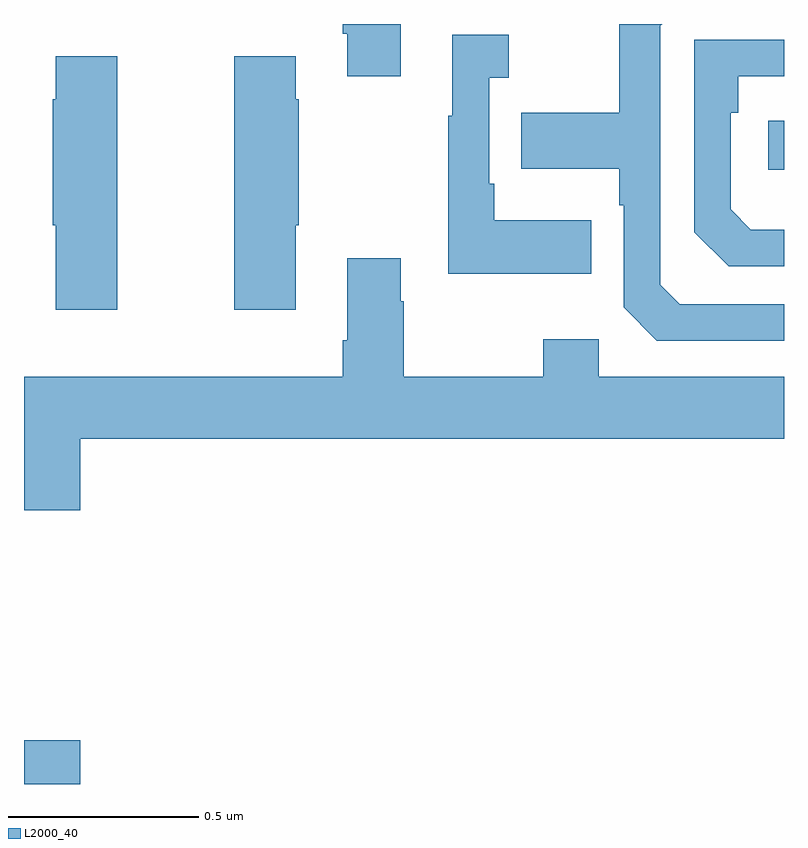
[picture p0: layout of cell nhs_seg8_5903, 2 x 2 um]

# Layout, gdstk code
import gdstk
lib = gdstk.Library(unit=1e-6, precision=1e-09)
def R(c, l, rs):  # rectangles x0, y0, x1, y1
    for r in rs: c.add(gdstk.rectangle(r[:2], r[2:], *l))
def P(c, l, *ps):  # polygons
    for p in ps: c.add(gdstk.Polygon(p, *l))
L2000_40 = (2000, 40)

nhs_seg8_5903 = lib.new_cell('nhs_seg8_5903')
R(nhs_seg8_5903, L2000_40, [(189,1140.9,189.148,1141.015), (190.959,1142.516,191,1142.646)])
P(nhs_seg8_5903, L2000_40, [(189.991,1142.9),(189.839,1142.9),(189.839,1142.875),(189.851,1142.875),(189.851,1142.763),(189.991,1142.763)],
  [(191,1142.163),(190.725,1142.163),(190.674,1142.214),(190.674,1142.895),(190.679,1142.9),(190.566,1142.9),(190.566,1142.667),(190.309,1142.667),(190.309,1142.519),(190.566,1142.519),(190.566,1142.423),(190.578,1142.423),(190.578,1142.154),(190.665,1142.067),(191,1142.067)],
  [(190.493,1142.383),(190.237,1142.383),(190.237,1142.479),(190.224,1142.479),(190.224,1142.759),(190.276,1142.759),(190.276,1142.872),(190.127,1142.872),(190.127,1142.659),(190.116,1142.659),(190.116,1142.243),(190.493,1142.243)],
  [(191,1142.359),(190.913,1142.359),(190.86,1142.412),(190.86,1142.666),(190.88,1142.666),(190.88,1142.763),(191,1142.763),(191,1142.859),(190.764,1142.859),(190.764,1142.352),(190.854,1142.262),(191,1142.262)],
  [(189.715,1142.371),(189.723,1142.371),(189.723,1142.702),(189.715,1142.702),(189.715,1142.815),(189.553,1142.815),(189.553,1142.148),(189.715,1142.148)],
  [(189.246,1142.815),(189.083,1142.815),(189.083,1142.702),(189.076,1142.702),(189.076,1142.371),(189.083,1142.371),(189.083,1142.148),(189.246,1142.148)],
  [(189.148,1141.808),(191,1141.808),(191,1141.972),(190.512,1141.972),(190.512,1142.071),(190.366,1142.071),(190.366,1141.972),(189.999,1141.972),(189.999,1142.171),(189.991,1142.171),(189.991,1142.284),(189.851,1142.284),(189.851,1142.068),(189.839,1142.068),(189.839,1141.972),(189,1141.972),(189,1141.62),(189.148,1141.62)])

lib.write_gds('nhs_seg8_5903.gds')
